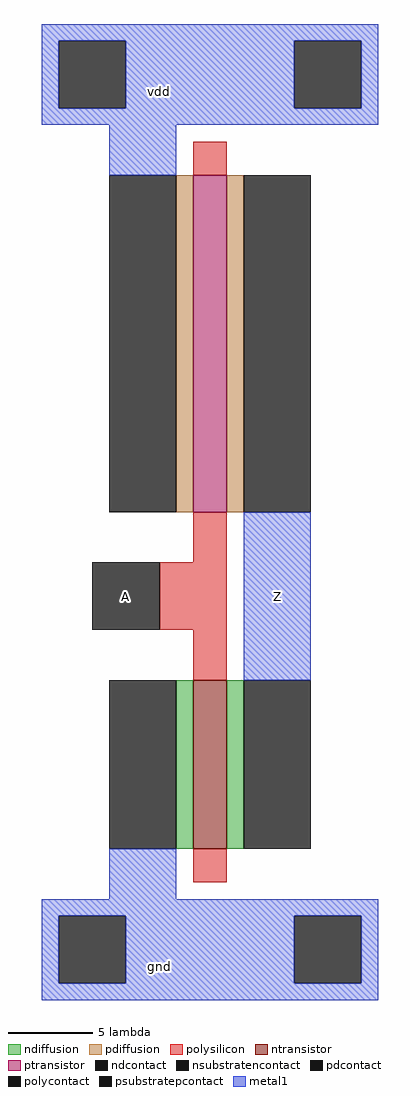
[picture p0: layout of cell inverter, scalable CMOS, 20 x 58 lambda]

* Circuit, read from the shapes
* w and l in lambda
.subckt inverter A Z gnd vdd
M1 Z A gnd gnd nfet w=10 l=2
M2 Z A vdd vdd pfet w=20 l=2
.ends

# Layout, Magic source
magic
tech scmos
<< polysilicon >>
rect 5 20 7 22
rect 5 -3 7 0
rect 3 -7 7 -3
rect 5 -10 7 -7
rect 5 -22 7 -20
<< ndiffusion >>
rect 4 -20 5 -10
rect 7 -20 8 -10
<< pdiffusion >>
rect 4 0 5 20
rect 7 0 8 20
<< metal1 >>
rect -4 28 16 29
rect -4 24 -3 28
rect 1 24 11 28
rect 15 24 16 28
rect -4 23 16 24
rect 0 20 4 23
rect 8 -10 12 0
rect 0 -23 4 -20
rect -4 -24 16 -23
rect -4 -28 -3 -24
rect 1 -28 11 -24
rect 15 -28 16 -24
rect -4 -29 16 -28
<< ntransistor >>
rect 5 -20 7 -10
<< ptransistor >>
rect 5 0 7 20
<< polycontact >>
rect -1 -7 3 -3
<< ndcontact >>
rect 0 -20 4 -10
rect 8 -20 12 -10
<< pdcontact >>
rect 0 0 4 20
rect 8 0 12 20
<< psubstratepcontact >>
rect -3 -28 1 -24
rect 11 -28 15 -24
<< nsubstratencontact >>
rect -3 24 1 28
rect 11 24 15 28
<< labels >>
rlabel metal1 3 25 3 25 5 vdd
rlabel metal1 3 -27 3 -27 1 gnd
rlabel metal1 10 -5 10 -5 1 Z
rlabel polycontact 1 -5 1 -5 3 A
<< end >>
